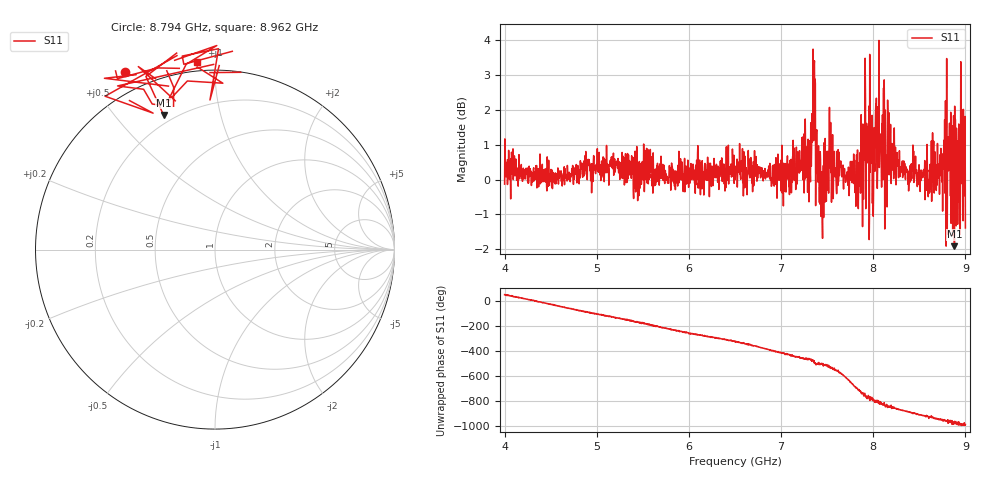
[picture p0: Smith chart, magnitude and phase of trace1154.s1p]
! Created with skrf 1.8.0 (http://scikit-rf.org).
# Hz S RI R 50.0
!freq ReS11 ImS11
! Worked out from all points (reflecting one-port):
!   1601 points, 4 GHz to 9 GHz, reference 50 ohm
!   lowest |S11| = -1.9 dB at 8.881 GHz (marker M1), VSWR 9.12, Z = 8.04 + j33.8 ohm
!   phase of S11 starts at 51 deg and turns -1041 deg over the sweep
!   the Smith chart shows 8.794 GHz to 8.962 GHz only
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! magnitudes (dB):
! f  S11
! 4 GHz  -0.1
! 4.1 GHz  0.1
! 4.625 GHz  -0.2
! 5.25 GHz  0.0
! 5.875 GHz  0.1
! 6.5 GHz  0.3
! 7.125 GHz  0.7
! 7.294 GHz  1.2
! 7.319 GHz  -0.1
! 7.347 GHz  3.7
! 7.372 GHz  2.8
! 7.4 GHz  0.3
! 7.438 GHz  -0.3
! 7.519 GHz  0.8
! 7.591 GHz  0.3
! 7.75 GHz  0.0
! 7.859 GHz  0.8
! 7.928 GHz  1.6
! 7.981 GHz  0.6
! 8.047 GHz  0.3
! 8.375 GHz  0.1
! 8.603 GHz  -0.4
! 8.809 GHz  0.8
! 8.856 GHz  0.3
! 8.881 GHz  -1.9
! 8.922 GHz  -0.6
! 8.972 GHz  0.7
! 9 GHz  -1.4
